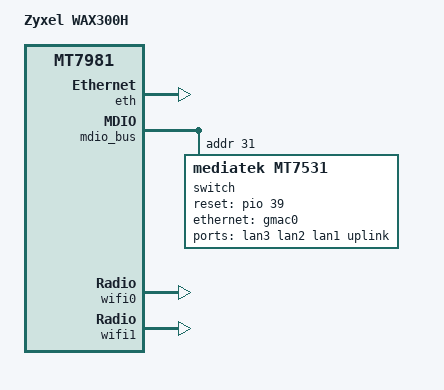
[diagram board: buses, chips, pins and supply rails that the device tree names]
// SPDX-License-Identifier: (GPL-2.0-or-later OR MIT)
/dts-v1/;

#include "mt7981b-zyxel-common.dtsi"

/ {
	model = "Zyxel WAX300H";
	compatible = "zyxel,wax300h", "mediatek,mt7981";

	aliases {
		label-mac-device = &uplink;
	};
};

&eth {
	pinctrl-names = "default";
	pinctrl-0 = <&mdio_pins>;

	status = "okay";

	gmac0: mac@0 {
		compatible = "mediatek,eth-mac";
		reg = <0>;
		phy-mode = "2500base-x";

		nvmem-cells = <&macaddr_mrd_1fff8 0>;
		nvmem-cell-names = "mac-address";

		fixed-link {
			speed = <2500>;
			full-duplex;
			pause;
		};
	};
};

&mdio_bus {
	switch@1f {
		compatible = "mediatek,mt7531";
		reg = <31>;
		reset-gpios = <&pio 39 GPIO_ACTIVE_HIGH>;

		ports {
			#address-cells = <1>;
			#size-cells = <0>;

			port@0 {
				reg = <0>;
				label = "lan3";

				nvmem-cells = <&macaddr_mrd_1fff8 3>;
				nvmem-cell-names = "mac-address";
			};

			port@1 {
				reg = <1>;
				label = "lan2";

				nvmem-cells = <&macaddr_mrd_1fff8 2>;
				nvmem-cell-names = "mac-address";
			};

			/* PoE PSE */
			port@2 {
				reg = <2>;
				label = "lan1";

				nvmem-cells = <&macaddr_mrd_1fff8 1>;
				nvmem-cell-names = "mac-address";
			};

			/* PoE PD */
			uplink: port@3 {
				reg = <3>;
				label = "uplink";

				nvmem-cells = <&macaddr_mrd_1fff8 0>;
				nvmem-cell-names = "mac-address";
			};

			port@6 {
				reg = <6>;
				ethernet = <&gmac0>;
				phy-mode = "2500base-x";

				fixed-link {
					speed = <2500>;
					full-duplex;
					pause;
				};
			};
		};
	};
};

&wifi0 { nvmem-cells = <&macaddr_mrd_1fff8 4>; };
&wifi1 { nvmem-cells = <&macaddr_mrd_1fff8 5>; };
